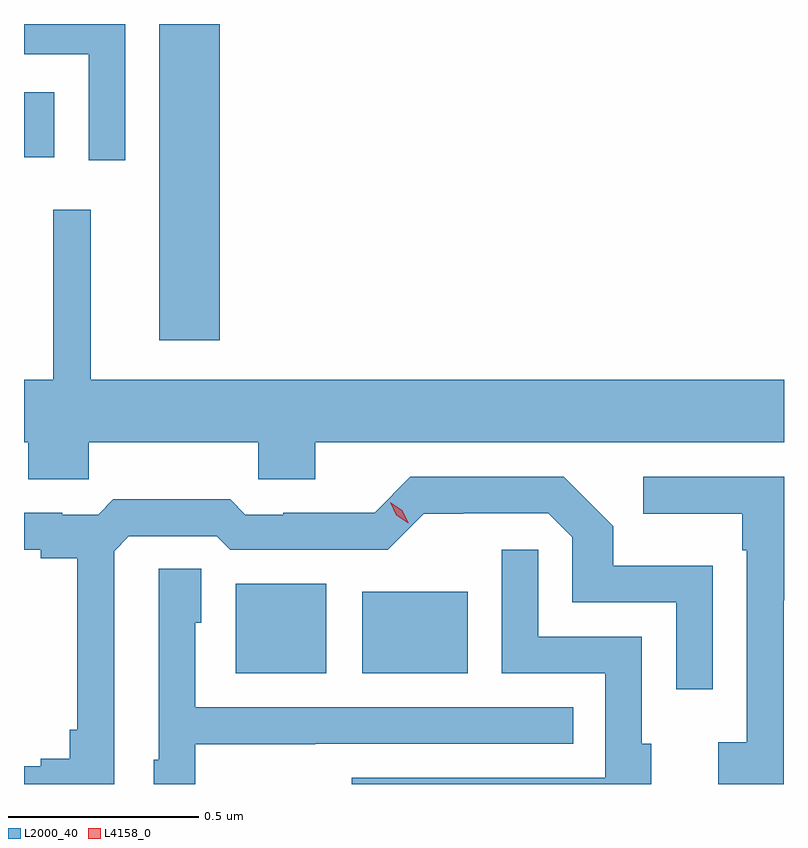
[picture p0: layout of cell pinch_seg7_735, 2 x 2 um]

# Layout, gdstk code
import gdstk
lib = gdstk.Library(unit=1e-6, precision=1e-09)
def R(c, l, rs):  # rectangles x0, y0, x1, y1
    for r in rs: c.add(gdstk.rectangle(r[:2], r[2:], *l))
def P(c, l, *ps):  # polygons
    for p in ps: c.add(gdstk.Polygon(p, *l))
L2000_40 = (2000, 40)
L4158_0 = (4158, 0)

pinch_seg7_735 = lib.new_cell('pinch_seg7_735')
R(pinch_seg7_735, L2000_40, [(275.207,1004.003,275.446,1004.239), (275.54,1004.003,275.818,1004.218), (275.006,1004.88,275.165,1005.712), (274.65,1005.362,274.729,1005.532)])
P(pinch_seg7_735, L2000_40, [(274.917,1005.712),(274.65,1005.712),(274.65,1005.633),(274.821,1005.633),(274.821,1005.354),(274.917,1005.354)],
  [(274.821,1004.612),(275.266,1004.612),(275.266,1004.514),(275.416,1004.514),(275.416,1004.612),(276.65,1004.612),(276.65,1004.776),(274.826,1004.776),(274.826,1005.223),(274.727,1005.223),(274.727,1004.776),(274.65,1004.776),(274.65,1004.612),(274.661,1004.612),(274.661,1004.514),(274.821,1004.514)],
  [(274.887,1004.325),(274.926,1004.364),(275.157,1004.364),(275.193,1004.328),(275.607,1004.328),(275.702,1004.423),(275.806,1004.423),(275.806,1004.424),(276.03,1004.424),(276.093,1004.361),(276.093,1004.19),(276.366,1004.19),(276.366,1003.962),(276.462,1003.962),(276.462,1004.287),(276.201,1004.287),(276.201,1004.39),(276.07,1004.52),(275.667,1004.52),(275.573,1004.426),(275.332,1004.426),(275.332,1004.421),(275.232,1004.421),(275.193,1004.461),(274.885,1004.461),(274.845,1004.421),(274.751,1004.421),(274.751,1004.426),(274.65,1004.426),(274.65,1004.328),(274.694,1004.328),(274.694,1004.306),(274.79,1004.306),(274.79,1003.855),(274.771,1003.855),(274.771,1003.778),(274.694,1003.778),(274.694,1003.759),(274.65,1003.759),(274.65,1003.712),(274.887,1003.712)],
  [(276.649,1004.196),(276.65,1004.196),(276.65,1004.52),(276.279,1004.52),(276.279,1004.423),(276.54,1004.423),(276.54,1004.327),(276.552,1004.327),(276.552,1003.822),(276.477,1003.822),(276.477,1003.712),(276.649,1003.712)],
  [(276.301,1003.818),(276.276,1003.818),(276.276,1004.1),(276.003,1004.1),(276.003,1004.329),(275.907,1004.329),(275.907,1004.004),(276.18,1004.004),(276.18,1003.728),(275.513,1003.728),(275.513,1003.712),(276.301,1003.712)],
  [(275.1,1003.817),(275.417,1003.817),(275.417,1003.818),(276.095,1003.818),(276.095,1003.914),(275.1,1003.914),(275.1,1004.136),(275.116,1004.136),(275.116,1004.279),(275.004,1004.279),(275.004,1003.776),(274.991,1003.776),(274.991,1003.712),(275.1,1003.712)])
P(pinch_seg7_735, L4158_0, [(275.661,1004.398),(275.63,1004.419),(275.614,1004.453),(275.614,1004.453),(275.614,1004.453),(275.645,1004.432),(275.661,1004.399),(275.661,1004.398)])

lib.write_gds('pinch_seg7_735.gds')
